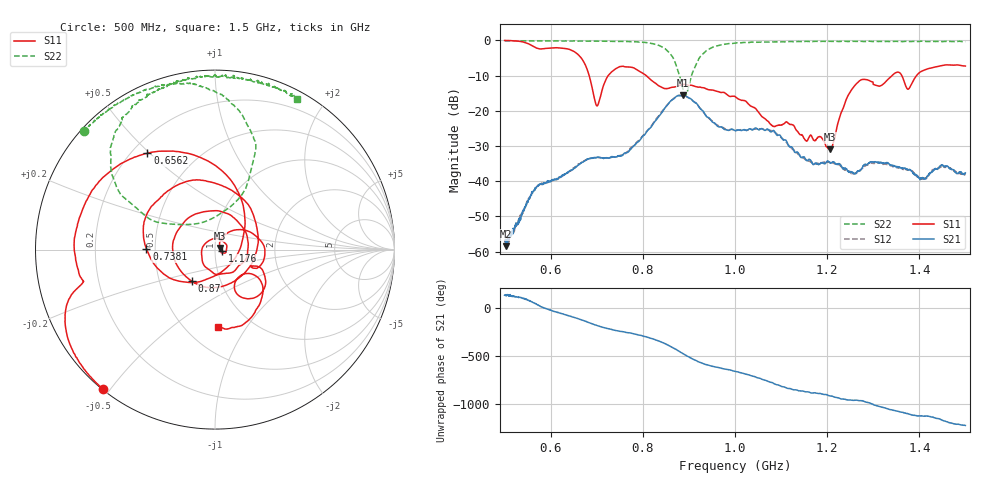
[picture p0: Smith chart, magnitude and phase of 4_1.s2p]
!Agilent Technologies,E8364B,US42250235,A.06.04.32
!Agilent E8364B: A.06.04.32
!Date: Friday, January 15, 2021 11:16:59
!Correction: S11(Full 2 Port(1,2)) S21(Full 2 Port(1,2)) S12(Full 2 Port(1,2)) S22(Full 2 Port(1,2))
!S2P File: Measurements: S11, S21, S12, S22:
# Hz S  dB  R 50
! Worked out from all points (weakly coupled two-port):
!   1601 points, 500 MHz to 1.5 GHz, reference 50 ohm
!   highest |S21| = -15.65 dB at 887.5 MHz (marker M1); lowest = -58.5 dB at 503.8 MHz (marker M2)
!   lowest |S11| = -31.0 dB at 1.206 GHz (marker M3), VSWR 1.06, Z = 52.7 + j0.973 ohm
!   |S11| at or under -10 dB: 683.5 MHz to 724.9 MHz (41.41 MHz wide, 5.88 % of centre); 807.5 MHz to 1.341 GHz (533.4 MHz wide, 49.7 % of centre); 1.362 GHz to 1.394 GHz (32.06 MHz wide, 2.33 % of centre)
!   |S22| runs from -15.6 to -0.1 dB; largest |S21 - S12| = 0.0076
!   S11 on the Smith chart (normalised r, x): 500 MHz: 0.00, -0.48; 656.2 MHz: 0.26, +0.49; 738.1 MHz: 0.45, +0.01; 870 MHz: 0.73, -0.27; 1.176 GHz: 1.08, -0.02; 1.5 GHz: 0.70, -0.75
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5e8  -0.03 -128.8  -58.01 130.7  -56.76 124.1  -0.14 137.9
5.0375e8  -0.04 -130.5  -58.46 122.8  -56.45 133.1  -0.14 137.8
5.64375e8  -1.88 -164.0  -42.60 49.3  -42.47 48.0  -0.16 132.1
6.14375e8  -2.12 174.1  -39.24 -46.3  -39.50 -47.8  -0.15 127.2
6.5625e8  -3.66 125.0  -35.87 -107.8  -35.67 -108.8  -0.20 123.2
6.66875e8  -5.09 105.5  -34.79 -125.1  -34.63 -125.6  -0.18 121.3
7.00625e8  -18.63 -43.1  -33.24 175.8  -33.21 175.5  -0.21 117.9
7.38125e8  -8.35 179.3  -33.12 127.6  -33.11 127.4  -0.29 112.7
7.83125e8  -8.03 102.3  -29.69 87.7  -29.51 86.6  -0.38 103.8
8.3375e8  -12.86 -6.4  -21.83 16.3  -21.62 14.4  -1.39 86.2
8.7e8  -13.21 -126.5  -16.24 -66.4  -16.18 -69.1  -6.27 65.6
8.875e8  -12.52 177.8  -15.65 -116.4  -15.66 -118.2  -14.09 83.2
9.325e8  -13.48 68.4  -20.42 137.3  -20.57 136.2  -3.57 146.6
1e9  -15.95 -53.0  -25.65 60.5  -25.50 58.3  -0.78 120.8
1.08375e9  -24.40 123.6  -25.62 -64.3  -25.97 -68.1  -0.48 106.7
1.166875e9  -27.38 -21.3  -34.79 -164.7  -34.67 -163.0  -0.34 96.8
1.17625e9  -28.13 -14.6  -34.88 -165.8  -35.07 -168.3  -0.28 96.1
1.205625e9  -30.97 19.0  -34.70 166.5  -34.66 162.8  -0.26 93.3
1.260625e9  -12.75 22.1  -37.87 120.3  -37.81 117.7  -0.29 87.5
1.33375e9  -10.88 -23.0  -35.02 27.9  -35.49 29.4  -0.33 79.9
1.37625e9  -13.86 -46.0  -36.75 -20.5  -36.82 -20.1  -0.30 76.2
1.5e9  -7.30 -88.0  -37.66 -140.7  -38.09 -143.5  -0.38 61.4
